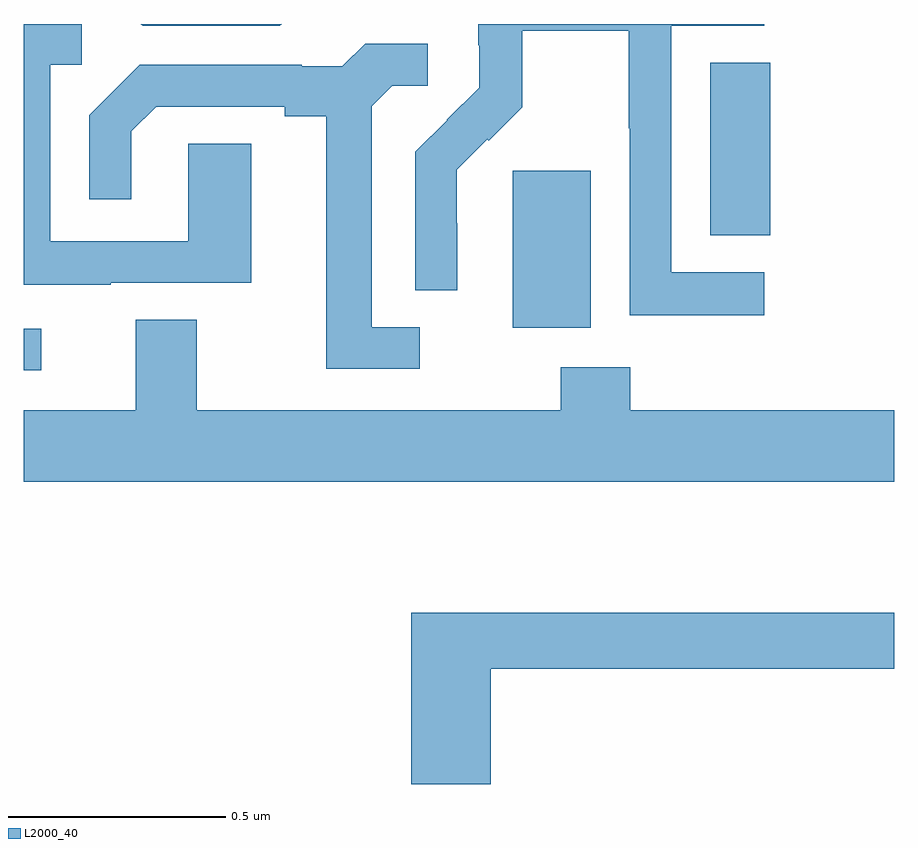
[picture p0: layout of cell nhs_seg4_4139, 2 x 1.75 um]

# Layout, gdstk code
import gdstk
lib = gdstk.Library(unit=1e-6, precision=1e-09)
def R(c, l, rs):  # rectangles x0, y0, x1, y1
    for r in rs: c.add(gdstk.rectangle(r[:2], r[2:], *l))
def P(c, l, *ps):  # polygons
    for p in ps: c.add(gdstk.Polygon(p, *l))
L2000_40 = (2000, 40)

nhs_seg4_4139 = lib.new_cell('nhs_seg4_4139')
R(nhs_seg4_4139, L2000_40, [(162,769.104,162.04,769.2), (163.124,769.202,163.303,769.563), (163.577,769.414,163.716,769.811)])
P(nhs_seg4_4139, L2000_40, [(162.592,769.9),(162.269,769.9),(162.273,769.896),(162.588,769.896)],
  [(163.702,769.329),(163.488,769.329),(163.488,769.896),(163.702,769.896),(163.702,769.9),(163.044,769.9),(163.044,769.851),(163.046,769.851),(163.046,769.754),(162.972,769.68),(162.973,769.679),(162.9,769.606),(162.9,769.288),(162.996,769.288),(162.996,769.442),(162.995,769.442),(162.995,769.565),(163.065,769.635),(163.068,769.632),(163.145,769.709),(163.145,769.884),(163.39,769.884),(163.39,769.66),(163.392,769.66),(163.392,769.231),(163.702,769.231)],
  [(162.199,769.305),(162.523,769.305),(162.523,769.625),(162.378,769.625),(162.378,769.401),(162.06,769.401),(162.06,769.806),(162.133,769.806),(162.133,769.9),(162,769.9),(162,769.301),(162.199,769.301)],
  [(162.91,769.203),(162.799,769.203),(162.799,769.711),(162.846,769.758),(162.928,769.758),(162.928,769.855),(162.784,769.855),(162.732,769.803),(162.638,769.803),(162.638,769.806),(162.266,769.806),(162.15,769.69),(162.15,769.497),(162.247,769.497),(162.247,769.653),(162.304,769.71),(162.599,769.71),(162.599,769.688),(162.695,769.688),(162.695,769.107),(162.91,769.107)],
  [(164,769.012),(163.394,769.012),(163.394,769.111),(163.234,769.111),(163.234,769.012),(162.397,769.012),(162.397,769.22),(162.257,769.22),(162.257,769.012),(162,769.012),(162,768.848),(164,768.848)],
  [(163.073,768.418),(164,768.418),(164,768.547),(162.89,768.547),(162.89,768.153),(163.073,768.153)])

lib.write_gds('nhs_seg4_4139.gds')
